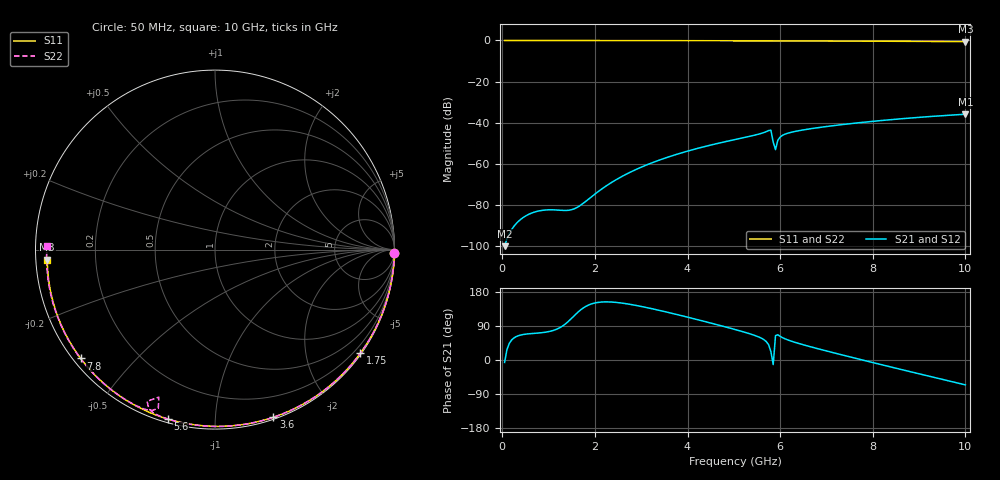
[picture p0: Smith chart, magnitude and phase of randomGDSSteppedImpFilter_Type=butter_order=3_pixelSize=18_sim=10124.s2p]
! freq	dB(S11)	phase(S11)	dB(S12)	phase(S12)
!  dB(S21)	phase(S21)	dB(S22)	phase(S22)
!S-par simulation data
#  GHz  S  DB  R 50
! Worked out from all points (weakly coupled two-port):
!   200 points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, 50 MHz to 10 GHz, reference 50 ohm
!   highest |S21| = -35.94 dB at 10 GHz (marker M1); lowest = -100.2 dB at 50 MHz (marker M2)
!   lowest |S11| = -0.6 dB at 10 GHz (marker M3), VSWR 30.32, Z = 1.65 - j1.48 ohm
!   |S11| at or under -10 dB: nowhere
!   |S22| runs from -1.1 to 0.0 dB; largest |S21 - S12| = 0
!   S11 on the Smith chart (normalised r, x): 50 MHz: open; 1.75 GHz: 0.03, -3.12; 3.6 GHz: 0.02, -1.41; 5.6 GHz: 0.02, -0.76; 7.8 GHz: 0.02, -0.35; 10 GHz: 0.03, -0.03
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0.05  -0.00 -1.0  -100.18 -6.4  -100.18 -6.4  -0.00 -1.1
0.85  -0.02 -17.5  -82.77 72.0  -82.77 72.0  -0.02 -17.8
1.7  -0.04 -34.5  -80.10 133.0  -80.10 133.0  -0.04 -35.2
1.75  -0.05 -35.5  -79.27 137.5  -79.27 137.5  -0.05 -36.3
2.15  -0.06 -43.4  -72.29 153.0  -72.29 153.0  -0.06 -44.3
2.5  -0.06 -50.2  -67.27 151.4  -67.27 151.4  -0.07 -51.2
2.9  -0.07 -57.8  -62.70 143.8  -62.70 143.8  -0.08 -58.9
3.4  -0.09 -67.1  -58.18 130.8  -58.18 130.8  -0.09 -68.5
3.6  -0.09 -70.8  -56.64 125.0  -56.64 125.0  -0.10 -72.2
4.3  -0.12 -83.3  -52.07 103.8  -52.07 103.8  -0.12 -85.0
5.05  -0.15 -96.3  -48.12 79.7  -48.12 79.7  -0.15 -98.4
5.6  -0.17 -105.5  -45.22 57.3  -45.22 57.3  -0.20 -108.6
5.8  -0.18 -108.8  -43.70 22.2  -43.70 22.2  -0.67 -114.1
5.85  -0.19 -109.7  -49.50 -12.1  -49.50 -12.1  -1.11 -110.8
5.9  -0.19 -110.5  -53.15 64.4  -53.15 64.4  -0.55 -109.7
5.95  -0.19 -111.3  -48.59 66.5  -48.59 66.5  -0.34 -111.3
6.05  -0.20 -112.9  -46.21 59.0  -46.21 59.0  -0.25 -113.9
6.7  -0.24 -123.5  -42.84 33.5  -42.84 33.5  -0.25 -125.6
7.8  -0.33 -141.0  -39.84 -0.7  -39.84 -0.7  -0.33 -143.8
8.35  -0.38 -149.7  -38.65 -17.2  -38.65 -17.2  -0.38 -152.9
9.2  -0.47 -163.4  -37.11 -42.3  -37.11 -42.3  -0.47 -167.2
10  -0.57 -176.6  -35.94 -65.6  -35.94 -65.6  -0.57 178.9
